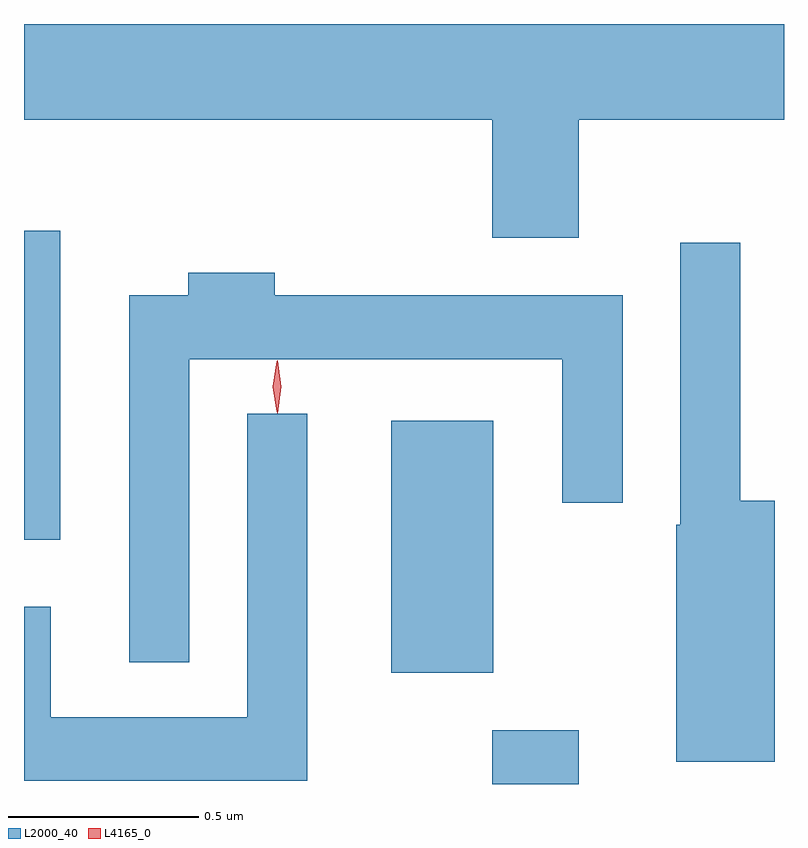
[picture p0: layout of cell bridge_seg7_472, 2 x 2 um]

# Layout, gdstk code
import gdstk
lib = gdstk.Library(unit=1e-6, precision=1e-09)
def R(c, l, rs):  # rectangles x0, y0, x1, y1
    for r in rs: c.add(gdstk.rectangle(r[:2], r[2:], *l))
def P(c, l, *ps):  # polygons
    for p in ps: c.add(gdstk.Polygon(p, *l))
L2000_40 = (2000, 40)
L4165_0 = (4165, 0)

bridge_seg7_472 = lib.new_cell('bridge_seg7_472')
R(bridge_seg7_472, L2000_40, [(1158.281,1719.228,1158.509,1719.369), (1158.016,1719.521,1158.284,1720.184), (1157.049,1719.871,1157.144,1720.684)])
P(bridge_seg7_472, L2000_40, [(1158.509,1720.976),(1159.049,1720.976),(1159.049,1721.228),(1157.049,1721.228),(1157.049,1720.976),(1158.281,1720.976),(1158.281,1720.666),(1158.509,1720.666)],
  [(1159.024,1719.974),(1158.934,1719.974),(1158.934,1720.653),(1158.776,1720.653),(1158.776,1719.91),(1158.766,1719.91),(1158.766,1719.286),(1159.024,1719.286)],
  [(1157.484,1720.346),(1158.466,1720.346),(1158.466,1719.968),(1158.624,1719.968),(1158.624,1720.514),(1157.709,1720.514),(1157.709,1720.574),(1157.481,1720.574),(1157.481,1720.514),(1157.326,1720.514),(1157.326,1719.548),(1157.484,1719.548)],
  [(1157.794,1720.203),(1157.636,1720.203),(1157.636,1719.404),(1157.119,1719.404),(1157.119,1719.694),(1157.049,1719.694),(1157.049,1719.236),(1157.794,1719.236)])
P(bridge_seg7_472, L4165_0, [(1157.714,1720.207),(1157.714,1720.207),(1157.704,1720.274),(1157.714,1720.34),(1157.714,1720.341),(1157.715,1720.34),(1157.724,1720.274),(1157.715,1720.207)],
  [(1157.716,1720.204),(1157.716,1720.204),(1157.706,1720.273),(1157.716,1720.342),(1157.716,1720.343),(1157.717,1720.342),(1157.726,1720.273),(1157.717,1720.204)])

lib.write_gds('bridge_seg7_472.gds')
